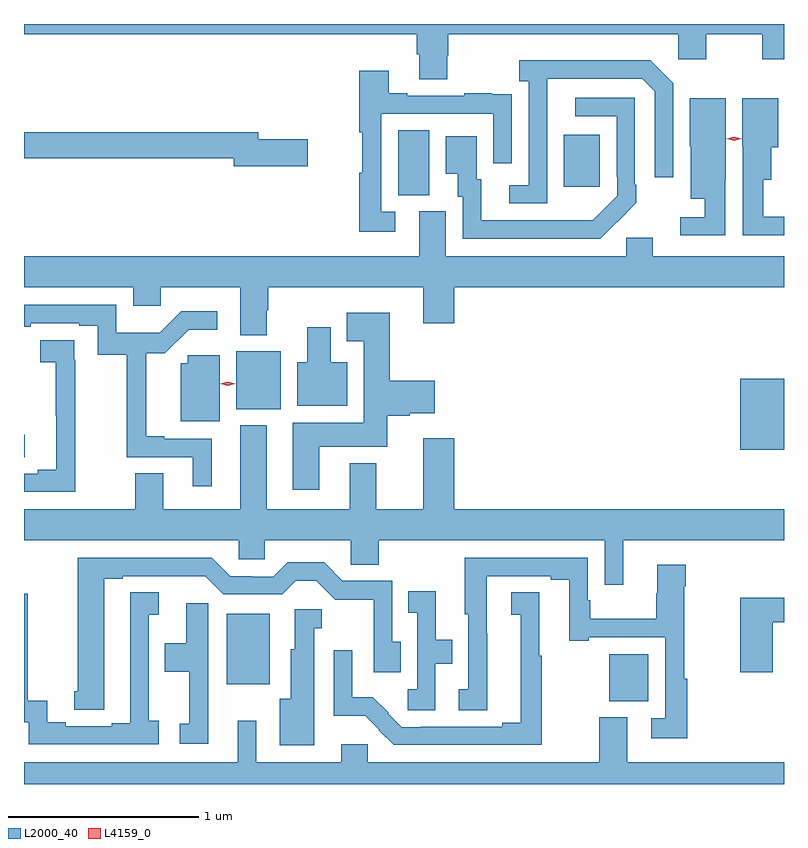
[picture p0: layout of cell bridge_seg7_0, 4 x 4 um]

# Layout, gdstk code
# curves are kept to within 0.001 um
import gdstk
lib = gdstk.Library(unit=1e-6, precision=1e-09)
def R(c, l, rs):  # rectangles x0, y0, x1, y1
    for r in rs: c.add(gdstk.rectangle(r[:2], r[2:], *l))
def P(c, l, *ps):  # polygons
    for p in ps: c.add(gdstk.Polygon(p, *l))
L2000_40 = (2000, 40)
L4159_0 = (4159, 0)

bridge_seg7_0 = lib.new_cell('bridge_seg7_0')
R(bridge_seg7_0, L2000_40, [(1101.05,1038.398,1101.256,1038.646), (1099.037,1038.488,1099.264,1038.859), (1097.971,1039.681,1097.974,1039.801), (1101.74,1039.721,1101.971,1040.095), (1099.088,1039.934,1099.321,1040.239), (1099.94,1041.061,1100.104,1041.404), (1100.813,1041.105,1101.001,1041.379)])
P(bridge_seg7_0, L2000_40, [(1097.971,1041.908),(1100.039,1041.908),(1100.039,1041.802),(1100.051,1041.802),(1100.051,1041.67),(1100.199,1041.67),(1100.199,1041.795),(1100.204,1041.795),(1100.204,1041.908),(1101.414,1041.908),(1101.414,1041.777),(1101.561,1041.777),(1101.561,1041.908),(1101.856,1041.908),(1101.856,1041.777),(1101.971,1041.777),(1101.971,1041.962),(1097.971,1041.962)],
  [(1100.724,1041.475),(1100.725,1041.675),(1101.225,1041.675),(1101.291,1041.609),(1101.291,1041.156),(1101.387,1041.156),(1101.387,1041.651),(1101.266,1041.772),(1100.577,1041.772),(1100.577,1041.662),(1100.628,1041.662),(1100.628,1041.114),(1100.526,1041.114),(1100.526,1041.018),(1100.724,1041.018)],
  [(1099.924,1040.973),(1099.851,1040.973),(1099.851,1041.489),(1100.442,1041.489),(1100.442,1041.228),(1100.538,1041.228),(1100.538,1041.482),(1100.537,1041.482),(1100.537,1041.591),(1100.435,1041.591),(1100.435,1041.598),(1100.287,1041.598),(1100.287,1041.585),(1099.987,1041.585),(1099.987,1041.598),(1099.891,1041.598),(1099.891,1041.715),(1099.735,1041.715),(1099.735,1041.392),(1099.75,1041.392),(1099.75,1041.18),(1099.735,1041.18),(1099.735,1040.868),(1099.924,1040.868)],
  [(1101.095,1040.923),(1101.096,1040.922),(1101.194,1041.02),(1101.194,1041.115),(1101.186,1041.115),(1101.186,1041.573),(1100.871,1041.573),(1100.871,1041.477),(1101.09,1041.477),(1101.09,1041.157),(1101.093,1041.157),(1101.093,1041.057),(1100.965,1040.929),(1100.377,1040.928),(1100.377,1041.144),(1100.353,1041.144),(1100.353,1041.37),(1100.192,1041.37),(1100.192,1041.173),(1100.255,1041.173),(1100.255,1041.054),(1100.28,1041.054),(1100.28,1040.832),(1101.004,1040.832)],
  [(1101.971,1040.948),(1101.862,1040.948),(1101.862,1041.143),(1101.904,1041.143),(1101.904,1041.314),(1101.94,1041.314),(1101.94,1041.571),(1101.752,1041.571),(1101.752,1041.318),(1101.753,1041.318),(1101.753,1040.85),(1101.971,1040.85)],
  [(1101.663,1041.145),(1101.664,1041.145),(1101.664,1041.571),(1101.476,1041.571),(1101.476,1041.318),(1101.479,1041.318),(1101.479,1041.041),(1101.555,1041.041),(1101.555,1040.946),(1101.426,1040.946),(1101.426,1040.85),(1101.663,1040.85)],
  [(1099.465,1041.356),(1099.204,1041.356),(1099.204,1041.392),(1097.971,1041.392),(1097.971,1041.256),(1099.076,1041.256),(1099.076,1041.214),(1099.465,1041.214)],
  [(1099.249,1040.456),(1099.257,1040.456),(1099.257,1040.576),(1100.072,1040.576),(1100.072,1040.388),(1100.236,1040.388),(1100.236,1040.576),(1101.971,1040.576),(1101.971,1040.74),(1101.28,1040.74),(1101.28,1040.838),(1101.141,1040.838),(1101.141,1040.74),(1100.191,1040.74),(1100.191,1040.976),(1100.051,1040.976),(1100.051,1040.74),(1097.971,1040.74),(1097.971,1040.576),(1098.545,1040.576),(1098.545,1040.478),(1098.692,1040.478),(1098.692,1040.576),(1099.109,1040.576),(1099.109,1040.324),(1099.249,1040.324)],
  [(1098.958,1039.779),(1098.709,1039.779),(1098.709,1039.792),(1098.614,1039.792),(1098.614,1040.228),(1098.713,1040.228),(1098.839,1040.354),(1098.988,1040.354),(1098.988,1040.451),(1098.798,1040.451),(1098.685,1040.338),(1098.456,1040.338),(1098.456,1040.484),(1097.971,1040.484),(1097.971,1040.368),(1098.007,1040.368),(1098.007,1040.388),(1098.263,1040.388),(1098.263,1040.374),(1098.36,1040.374),(1098.36,1040.221),(1098.511,1040.221),(1098.511,1039.683),(1098.86,1039.683),(1098.86,1039.53),(1098.958,1039.53)],
  [(1099.525,1039.736),(1099.882,1039.736),(1099.882,1039.901),(1100,1039.901),(1100,1039.913),(1100.134,1039.913),(1100.134,1040.084),(1099.895,1040.084),(1099.895,1040.443),(1099.67,1040.443),(1099.67,1040.291),(1099.76,1040.291),(1099.76,1039.864),(1099.385,1039.864),(1099.385,1039.512),(1099.525,1039.512)],
  [(1099.672,1040.182),(1099.585,1040.182),(1099.585,1040.365),(1099.463,1040.365),(1099.463,1040.182),(1099.409,1040.182),(1099.409,1039.952),(1099.672,1039.952)],
  [(1098.242,1040.195),(1098.236,1040.195),(1098.236,1040.297),(1098.057,1040.297),(1098.057,1040.182),(1098.139,1040.182),(1098.139,1039.899),(1098.14,1039.899),(1098.14,1039.616),(1098.044,1039.616),(1098.044,1039.596),(1097.971,1039.596),(1097.971,1039.5),(1098.242,1039.5)],
  [(1099,1040.218),(1098.834,1040.218),(1098.834,1040.176),(1098.797,1040.176),(1098.797,1039.871),(1099,1039.871)],
  [(1101.125,1039.244),(1101.971,1039.244),(1101.971,1039.408),(1100.236,1039.408),(1100.236,1039.783),(1100.072,1039.783),(1100.072,1039.408),(1099.825,1039.408),(1099.825,1039.651),(1099.685,1039.651),(1099.685,1039.408),(1099.249,1039.408),(1099.249,1039.849),(1099.109,1039.849),(1099.109,1039.408),(1098.703,1039.408),(1098.703,1039.598),(1098.556,1039.598),(1098.556,1039.408),(1097.971,1039.408),(1097.971,1039.244),(1099.101,1039.244),(1099.101,1039.146),(1099.239,1039.146),(1099.239,1039.244),(1099.692,1039.244),(1099.692,1039.117),(1099.839,1039.117),(1099.839,1039.244),(1101.027,1039.244),(1101.027,1039.011),(1101.125,1039.011)],
  [(1098.393,1038.46),(1098.394,1039.041),(1098.49,1039.041),(1098.49,1039.056),(1098.925,1039.055),(1099.02,1038.96),(1099.329,1038.96),(1099.4,1039.032),(1099.51,1039.032),(1099.61,1038.931),(1099.812,1038.931),(1099.812,1038.549),(1099.955,1038.549),(1099.955,1038.71),(1099.908,1038.71),(1099.908,1039.032),(1099.647,1039.032),(1099.55,1039.129),(1099.36,1039.129),(1099.284,1039.053),(1099.172,1039.053),(1099.172,1039.056),(1099.056,1039.056),(1098.96,1039.152),(1098.254,1039.152),(1098.254,1038.45),(1098.236,1038.45),(1098.236,1038.352),(1098.393,1038.352)],
  [(1101.461,1038.516),(1101.446,1038.516),(1101.446,1039.004),(1101.455,1039.004),(1101.455,1039.117),(1101.305,1039.117),(1101.305,1038.966),(1101.298,1038.966),(1101.298,1038.832),(1100.95,1038.832),(1100.95,1038.928),(1100.937,1038.928),(1100.937,1039.152),(1100.291,1039.152),(1100.291,1038.855),(1100.31,1038.855),(1100.31,1038.46),(1100.259,1038.46),(1100.259,1038.349),(1100.408,1038.349),(1100.408,1038.755),(1100.406,1038.755),(1100.406,1039.056),(1100.744,1039.056),(1100.744,1039.036),(1100.84,1039.036),(1100.84,1038.715),(1100.944,1038.715),(1100.944,1038.735),(1101.345,1038.735),(1101.345,1038.309),(1101.273,1038.309),(1101.273,1038.204),(1101.461,1038.204)],
  [(1100.136,1038.594),(1100.225,1038.594),(1100.225,1038.722),(1100.137,1038.722),(1100.137,1038.976),(1099.993,1038.976),(1099.993,1038.863),(1100.04,1038.863),(1100.04,1038.46),(1099.991,1038.46),(1099.991,1038.349),(1100.136,1038.349)],
  [(1100.695,1038.638),(1100.683,1038.638),(1100.683,1038.971),(1100.535,1038.971),(1100.535,1038.853),(1100.585,1038.853),(1100.585,1038.284),(1100.489,1038.284),(1100.489,1038.264),(1100.059,1038.264),(1100.059,1038.261),(1099.959,1038.261),(1099.887,1038.333),(1099.89,1038.336),(1099.807,1038.419),(1099.698,1038.419),(1099.698,1038.667),(1099.602,1038.667),(1099.602,1038.321),(1099.768,1038.321),(1099.841,1038.248),(1099.838,1038.245),(1099.916,1038.168),(1100.695,1038.168)],
  [(1098.679,1038.295),(1098.627,1038.295),(1098.627,1038.853),(1098.679,1038.853),(1098.679,1038.971),(1098.531,1038.971),(1098.531,1038.863),(1098.53,1038.863),(1098.53,1038.282),(1098.434,1038.282),(1098.434,1038.267),(1098.19,1038.267),(1098.19,1038.286),(1098.094,1038.286),(1098.094,1038.4),(1097.99,1038.4),(1097.99,1038.963),(1097.971,1038.963),(1097.971,1038.288),(1097.997,1038.288),(1097.997,1038.171),(1098.679,1038.171)],
  [(1101.911,1038.814),(1101.971,1038.814),(1101.971,1038.943),(1101.74,1038.943),(1101.74,1038.549),(1101.911,1038.549)],
  [(1098.94,1038.913),(1098.824,1038.913),(1098.824,1038.702),(1098.712,1038.702),(1098.712,1038.554),(1098.842,1038.554),(1098.842,1038.279),(1098.792,1038.279),(1098.792,1038.174),(1098.94,1038.174)],
  [(1099.498,1038.783),(1099.539,1038.783),(1099.539,1038.882),(1099.397,1038.882),(1099.397,1038.672),(1099.376,1038.672),(1099.376,1038.412),(1099.316,1038.412),(1099.316,1038.167),(1099.498,1038.167)],
  [(1101.971,1038.076),(1101.145,1038.076),(1101.145,1038.313),(1100.998,1038.313),(1100.998,1038.076),(1099.779,1038.076),(1099.779,1038.172),(1099.64,1038.172),(1099.64,1038.076),(1099.194,1038.076),(1099.194,1038.295),(1099.097,1038.295),(1099.097,1038.076),(1097.971,1038.076),(1097.971,1037.962),(1101.971,1037.962)])
P(bridge_seg7_0, L4159_0, [(1099.043,1040.058),(1099.005,1040.068),(1099.005,1040.068),(1099.005,1040.068),(1099.043,1040.078),(1099.082,1040.068),(1099.082,1040.068),(1099.082,1040.068)],
  [(1101.708,1041.348),(1101.669,1041.357),(1101.669,1041.358),(1101.669,1041.358),(1101.708,1041.368),(1101.747,1041.358),(1101.748,1041.358),(1101.747,1041.358)])

lib.write_gds('bridge_seg7_0.gds')
